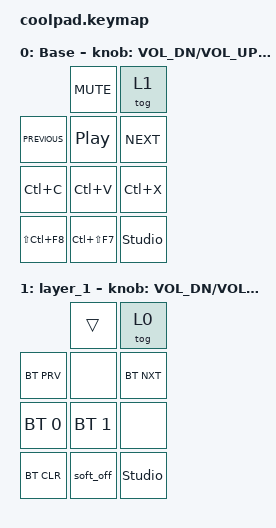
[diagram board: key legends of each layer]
#include <behaviors.dtsi>
#include <dt-bindings/zmk/bt.h>
#include <dt-bindings/zmk/keys.h>

/ {
    behaviors {
        new_behavior: new_behavior {
            compatible = "zmk,behavior-soft-off";
            label = "NEW_BEHAVIOR";
            #binding-cells = <0>;
            hold-time-ms = <900>;
        };
    };

    keymap {
        compatible = "zmk,keymap";

        default_layer {
            display-name = "Base";
            bindings = <
                &kp C_MUTE      &tog 1
&kp C_PREVIOUS  &kp C_PP        &kp C_NEXT
&kp LC(C)       &kp LC(V)       &kp LC(X)
&kp LS(LC(F8))  &kp LC(LS(F7))  &studio_unlock
            >;

            sensor-bindings = <&inc_dec_kp C_VOL_DN C_VOL_UP &inc_dec_kp PG_DN PG_UP>;
        };

        layer_1 {
            bindings = <
              &trans        &tog 0
&bt BT_PRV    &none         &bt BT_NXT
&bt BT_SEL 0  &bt BT_SEL 1  &none
&bt BT_CLR    &soft_off     &studio_unlock
            >;

            sensor-bindings = <&inc_dec_kp C_VOL_DN C_VOL_UP &inc_dec_kp PG_DN PG_UP>;
        };
    };
};
